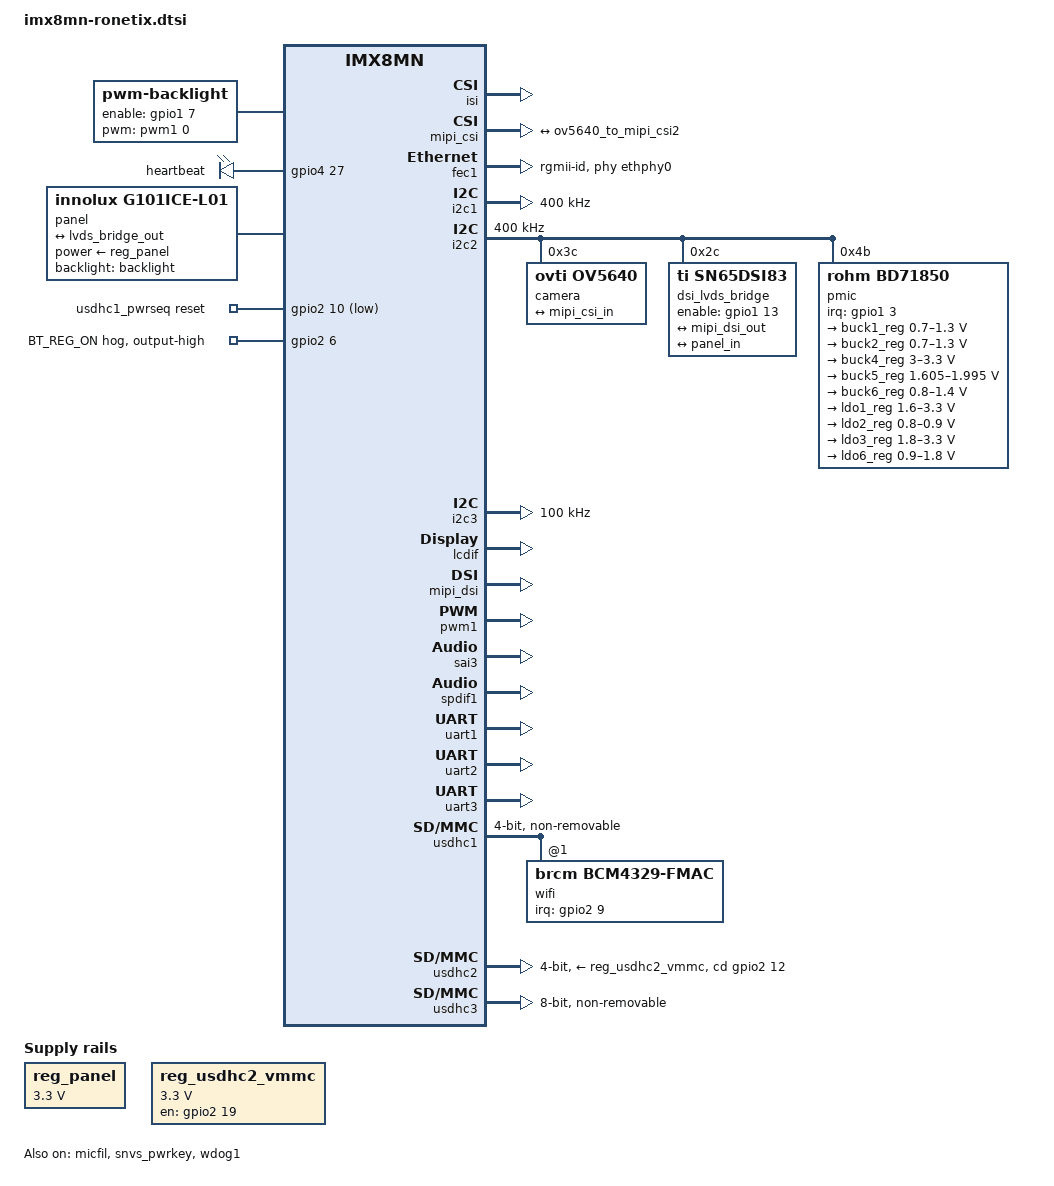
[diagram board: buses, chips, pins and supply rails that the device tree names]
// SPDX-License-Identifier: (GPL-2.0+ OR MIT)
/*
 * Copyright 2021-2026 Ronetix GmbH
 *
 * Common definitions of the Ronetix i.MX8MN SoMs:
 * i.MX8MN-CM and i.MX8MN-COMPACT-CM
 */

#include <dt-bindings/leds/common.h>

/ {
	chosen {
		stdout-path = &uart2;
	};

	backlight: backlight {
		compatible = "pwm-backlight";
		pinctrl-names = "default";
		pinctrl-0 = <&pinctrl_backlight>;
		enable-gpios = <&gpio1 7 GPIO_ACTIVE_HIGH>;
		pwms = <&pwm1 0 2500000 0>;	/* 400 Hz */
		brightness-levels = <0 100>;
		num-interpolated-steps = <100>;
		default-brightness-level = <80>;
	};

	leds {
		compatible = "gpio-leds";
		pinctrl-names = "default";
		pinctrl-0 = <&pinctrl_gpio_leds>;

		led-0 {
			label = "heartbeat";
			function = LED_FUNCTION_HEARTBEAT;
			gpios = <&gpio4 27 GPIO_ACTIVE_HIGH>;
			default-state = "on";
			linux,default-trigger = "heartbeat";
		};
	};

	/* LVDS panel behind the SN65DSI83 DSI to LVDS bridge */
	panel: panel {
		compatible = "innolux,g101ice-l01";
		backlight = <&backlight>;
		power-supply = <&reg_panel>;

		port {
			panel_in: endpoint {
				remote-endpoint = <&lvds_bridge_out>;
			};
		};
	};

	reg_panel: regulator-panel {
		compatible = "regulator-fixed";
		regulator-name = "PANEL_VDD";
		regulator-min-microvolt = <3300000>;
		regulator-max-microvolt = <3300000>;
	};

	reg_usdhc2_vmmc: regulator-usdhc2 {
		compatible = "regulator-fixed";
		pinctrl-names = "default";
		pinctrl-0 = <&pinctrl_reg_usdhc2_vmmc>;
		regulator-name = "VSD_3V3";
		regulator-min-microvolt = <3300000>;
		regulator-max-microvolt = <3300000>;
		gpio = <&gpio2 19 GPIO_ACTIVE_HIGH>;
		off-on-delay-us = <20000>;
		enable-active-high;
	};

	/* WL_REG_ON */
	usdhc1_pwrseq: usdhc1-pwrseq {
		compatible = "mmc-pwrseq-simple";
		pinctrl-names = "default";
		pinctrl-0 = <&pinctrl_usdhc1_gpio>;
		reset-gpios = <&gpio2 10 GPIO_ACTIVE_LOW>;
	};
};

&A53_0 {
	cpu-supply = <&buck2_reg>;
};

&A53_1 {
	cpu-supply = <&buck2_reg>;
};

&A53_2 {
	cpu-supply = <&buck2_reg>;
};

&A53_3 {
	cpu-supply = <&buck2_reg>;
};

&isi {
	status = "okay";
};

&mipi_csi {
	status = "okay";

	ports {
		port@0 {
			mipi_csi_in: endpoint {
				remote-endpoint = <&ov5640_to_mipi_csi2>;
				data-lanes = <1 2>;
			};
		};
	};
};

&fec1 {
	pinctrl-names = "default";
	pinctrl-0 = <&pinctrl_fec1>;
	phy-mode = "rgmii-id";
	phy-handle = <&ethphy0>;
	fsl,magic-packet;
	status = "okay";

	/* The PHY is defined in the board file */
	fec1_mdio: mdio {
		#address-cells = <1>;
		#size-cells = <0>;
	};
};

/* QSPI flash only on the i.MX8MN-CM, enabled in imx8mn-cm.dts */
&flexspi {
	pinctrl-names = "default";
	pinctrl-0 = <&pinctrl_flexspi0>;
	status = "disabled";
};

&i2c1 {
	clock-frequency = <400000>;
	pinctrl-names = "default";
	pinctrl-0 = <&pinctrl_i2c1>;
	status = "okay";
};

&i2c2 {
	clock-frequency = <400000>;
	pinctrl-names = "default";
	pinctrl-0 = <&pinctrl_i2c2>;
	status = "okay";

	camera@3c {
		compatible = "ovti,ov5640";
		reg = <0x3c>;
		pinctrl-names = "default";
		pinctrl-0 = <&pinctrl_csi_rst>;
		clocks = <&clk IMX8MN_CLK_CLKO1>;
		clock-names = "xclk";
		assigned-clocks = <&clk IMX8MN_CLK_CLKO1>;
		assigned-clock-parents = <&clk IMX8MN_CLK_24M>;
		assigned-clock-rates = <24000000>;

		port {
			ov5640_to_mipi_csi2: endpoint {
				remote-endpoint = <&mipi_csi_in>;
				clock-lanes = <0>;
				data-lanes = <1 2>;
			};
		};
	};

	dsi_lvds_bridge: bridge@2c {
		compatible = "ti,sn65dsi83";
		reg = <0x2c>;
		pinctrl-names = "default";
		pinctrl-0 = <&pinctrl_lvds>;
		/* chip enable, not connected */
		enable-gpios = <&gpio1 13 GPIO_ACTIVE_HIGH>;

		ports {
			#address-cells = <1>;
			#size-cells = <0>;

			port@0 {
				reg = <0>;

				lvds_bridge_in: endpoint {
					data-lanes = <1 2>;
					remote-endpoint = <&mipi_dsi_out>;
				};
			};

			port@2 {
				reg = <2>;

				lvds_bridge_out: endpoint {
					remote-endpoint = <&panel_in>;
				};
			};
		};
	};

	pmic@4b {
		compatible = "rohm,bd71850";
		reg = <0x4b>;
		pinctrl-names = "default";
		pinctrl-0 = <&pinctrl_pmic>;
		interrupt-parent = <&gpio1>;
		interrupts = <3 IRQ_TYPE_LEVEL_LOW>;
		rohm,reset-snvs-powered;

		#clock-cells = <0>;
		clocks = <&osc_32k>;
		clock-output-names = "clk-32k-out";

		regulators {
			buck1_reg: BUCK1 {
				regulator-name = "buck1";
				regulator-min-microvolt = <700000>;
				regulator-max-microvolt = <1300000>;
				regulator-boot-on;
				regulator-always-on;
				regulator-ramp-delay = <1250>;
			};

			buck2_reg: BUCK2 {
				regulator-name = "buck2";
				regulator-min-microvolt = <700000>;
				regulator-max-microvolt = <1300000>;
				regulator-boot-on;
				regulator-always-on;
				regulator-ramp-delay = <1250>;
				rohm,dvs-run-voltage = <1000000>;
				rohm,dvs-idle-voltage = <900000>;
			};

			buck4_reg: BUCK4 {
				/* BUCK6 in datasheet */
				regulator-name = "buck4";
				regulator-min-microvolt = <3000000>;
				regulator-max-microvolt = <3300000>;
				regulator-boot-on;
				regulator-always-on;
			};

			buck5_reg: BUCK5 {
				/* BUCK7 in datasheet */
				regulator-name = "buck5";
				regulator-min-microvolt = <1605000>;
				regulator-max-microvolt = <1995000>;
				regulator-boot-on;
				regulator-always-on;
			};

			buck6_reg: BUCK6 {
				/* BUCK8 in datasheet */
				regulator-name = "buck6";
				regulator-min-microvolt = <800000>;
				regulator-max-microvolt = <1400000>;
				regulator-boot-on;
				regulator-always-on;
			};

			ldo1_reg: LDO1 {
				regulator-name = "ldo1";
				regulator-min-microvolt = <1600000>;
				regulator-max-microvolt = <3300000>;
				regulator-boot-on;
				regulator-always-on;
			};

			ldo2_reg: LDO2 {
				regulator-name = "ldo2";
				regulator-min-microvolt = <800000>;
				regulator-max-microvolt = <900000>;
				regulator-boot-on;
				regulator-always-on;
			};

			ldo3_reg: LDO3 {
				regulator-name = "ldo3";
				regulator-min-microvolt = <1800000>;
				regulator-max-microvolt = <3300000>;
				regulator-boot-on;
				regulator-always-on;
			};

			ldo6_reg: LDO6 {
				regulator-name = "ldo6";
				regulator-min-microvolt = <900000>;
				regulator-max-microvolt = <1800000>;
				regulator-boot-on;
				regulator-always-on;
			};
		};
	};
};

&i2c3 {
	clock-frequency = <100000>;
	pinctrl-names = "default";
	pinctrl-0 = <&pinctrl_i2c3>;
	status = "okay";
};

&lcdif {
	status = "okay";
};

&micfil {
	pinctrl-names = "default";
	pinctrl-0 = <&pinctrl_pdm>;
	assigned-clocks = <&clk IMX8MN_CLK_PDM>;
	assigned-clock-parents = <&clk IMX8MN_AUDIO_PLL1_OUT>;
	assigned-clock-rates = <196608000>;
	status = "okay";
};

&mipi_dsi {
	samsung,burst-clock-frequency = <891000000>;
	samsung,esc-clock-frequency = <20000000>;
	status = "okay";
};

&mipi_dsi_out {
	data-lanes = <1 2>;
	remote-endpoint = <&lvds_bridge_in>;
};

&pwm1 {
	pinctrl-names = "default";
	pinctrl-0 = <&pinctrl_pwm1>;
	status = "okay";
};

&sai3 {
	pinctrl-names = "default";
	pinctrl-0 = <&pinctrl_sai3>;
	assigned-clocks = <&clk IMX8MN_CLK_SAI3>;
	assigned-clock-parents = <&clk IMX8MN_AUDIO_PLL1_OUT>;
	assigned-clock-rates = <24576000>;
	status = "okay";
};

&snvs_pwrkey {
	status = "okay";
};

&spdif1 {
	pinctrl-names = "default";
	pinctrl-0 = <&pinctrl_spdif1>;
	assigned-clocks = <&clk IMX8MN_CLK_SPDIF1>;
	assigned-clock-parents = <&clk IMX8MN_AUDIO_PLL1_OUT>;
	assigned-clock-rates = <24576000>;
	status = "okay";
};

&uart1 { /* Bluetooth */
	pinctrl-names = "default";
	pinctrl-0 = <&pinctrl_uart1>;
	assigned-clocks = <&clk IMX8MN_CLK_UART1>;
	assigned-clock-parents = <&clk IMX8MN_SYS_PLL1_80M>;
	uart-has-rtscts;
	status = "okay";
};

&uart2 { /* console */
	pinctrl-names = "default";
	pinctrl-0 = <&pinctrl_uart2>;
	status = "okay";
};

&uart3 {
	pinctrl-names = "default";
	pinctrl-0 = <&pinctrl_uart3>;
	assigned-clocks = <&clk IMX8MN_CLK_UART3>;
	assigned-clock-parents = <&clk IMX8MN_SYS_PLL1_80M>;
	uart-has-rtscts;
	status = "okay";
};

/* WiFi */
&usdhc1 {
	#address-cells = <1>;
	#size-cells = <0>;
	pinctrl-names = "default", "state_100mhz", "state_200mhz";
	pinctrl-0 = <&pinctrl_usdhc1>, <&pinctrl_wlan>;
	pinctrl-1 = <&pinctrl_usdhc1_100mhz>, <&pinctrl_wlan>;
	pinctrl-2 = <&pinctrl_usdhc1_200mhz>, <&pinctrl_wlan>;
	mmc-pwrseq = <&usdhc1_pwrseq>;
	bus-width = <4>;
	cap-power-off-card;
	keep-power-in-suspend;
	non-removable;
	status = "okay";

	wifi@1 {
		compatible = "brcm,bcm4329-fmac";
		reg = <1>;
		interrupt-parent = <&gpio2>;
		interrupts = <9 IRQ_TYPE_LEVEL_HIGH>;
		interrupt-names = "host-wake";
	};
};

/* micro SD card */
&usdhc2 {
	pinctrl-names = "default", "state_100mhz", "state_200mhz";
	pinctrl-0 = <&pinctrl_usdhc2>, <&pinctrl_usdhc2_gpio>;
	pinctrl-1 = <&pinctrl_usdhc2_100mhz>, <&pinctrl_usdhc2_gpio>;
	pinctrl-2 = <&pinctrl_usdhc2_200mhz>, <&pinctrl_usdhc2_gpio>;
	cd-gpios = <&gpio2 12 GPIO_ACTIVE_HIGH>;
	bus-width = <4>;
	vmmc-supply = <&reg_usdhc2_vmmc>;
	status = "okay";
};

/* eMMC */
&usdhc3 {
	pinctrl-names = "default", "state_100mhz", "state_200mhz";
	pinctrl-0 = <&pinctrl_usdhc3>;
	pinctrl-1 = <&pinctrl_usdhc3_100mhz>;
	pinctrl-2 = <&pinctrl_usdhc3_200mhz>;
	bus-width = <8>;
	non-removable;
	status = "okay";
};

&wdog1 {
	pinctrl-names = "default";
	pinctrl-0 = <&pinctrl_wdog>;
	fsl,ext-reset-output;
	status = "okay";
};

&gpio2 {
	bt-reg-on-hog {
		gpio-hog;
		gpios = <6 GPIO_ACTIVE_HIGH>;
		output-high;
		line-name = "BT_REG_ON";
	};
};

&iomuxc {
	pinctrl-names = "default";
	pinctrl-0 = <&pinctrl_hog>;

	pinctrl_hog: hoggrp {
		fsl,pins = <
			MX8MN_IOMUXC_SD1_DATA4_GPIO2_IO6		0x19	/* BT_REG_ON */
		>;
	};

	pinctrl_backlight: backlightgrp {
		fsl,pins = <
			MX8MN_IOMUXC_GPIO1_IO07_GPIO1_IO7		0x16	/* LCD_BL_EN */
		>;
	};

	pinctrl_csi_rst: csirstgrp {
		fsl,pins = <
			MX8MN_IOMUXC_GPIO1_IO06_GPIO1_IO6		0x19
		>;
	};

	pinctrl_fec1: fec1grp {
		fsl,pins = <
			MX8MN_IOMUXC_ENET_MDC_ENET1_MDC			0x3
			MX8MN_IOMUXC_ENET_MDIO_ENET1_MDIO		0x3
			MX8MN_IOMUXC_ENET_TD3_ENET1_RGMII_TD3		0x1f
			MX8MN_IOMUXC_ENET_TD2_ENET1_RGMII_TD2		0x1f
			MX8MN_IOMUXC_ENET_TD1_ENET1_RGMII_TD1		0x1f
			MX8MN_IOMUXC_ENET_TD0_ENET1_RGMII_TD0		0x1f
			MX8MN_IOMUXC_ENET_RD3_ENET1_RGMII_RD3		0x91
			MX8MN_IOMUXC_ENET_RD2_ENET1_RGMII_RD2		0x91
			MX8MN_IOMUXC_ENET_RD1_ENET1_RGMII_RD1		0x91
			MX8MN_IOMUXC_ENET_RD0_ENET1_RGMII_RD0		0x91
			MX8MN_IOMUXC_ENET_TXC_ENET1_RGMII_TXC		0x1f
			MX8MN_IOMUXC_ENET_RXC_ENET1_RGMII_RXC		0x91
			MX8MN_IOMUXC_ENET_RX_CTL_ENET1_RGMII_RX_CTL	0x91
			MX8MN_IOMUXC_ENET_TX_CTL_ENET1_RGMII_TX_CTL	0x1f
			MX8MN_IOMUXC_SAI3_RXC_GPIO4_IO29		0x19	/* ENET_nRST */
		>;
	};

	pinctrl_flexspi0: flexspi0grp {
		fsl,pins = <
			MX8MN_IOMUXC_NAND_ALE_QSPI_A_SCLK		0x1c2
			MX8MN_IOMUXC_NAND_CE0_B_QSPI_A_SS0_B		0x82
			MX8MN_IOMUXC_NAND_DATA00_QSPI_A_DATA0		0x82
			MX8MN_IOMUXC_NAND_DATA01_QSPI_A_DATA1		0x82
			MX8MN_IOMUXC_NAND_DATA02_QSPI_A_DATA2		0x82
			MX8MN_IOMUXC_NAND_DATA03_QSPI_A_DATA3		0x82
		>;
	};

	pinctrl_gpio_leds: gpioledgrp {
		fsl,pins = <
			MX8MN_IOMUXC_SAI2_MCLK_GPIO4_IO27		0x19
		>;
	};

	pinctrl_i2c1: i2c1grp {
		fsl,pins = <
			MX8MN_IOMUXC_I2C1_SCL_I2C1_SCL			0x400001c3
			MX8MN_IOMUXC_I2C1_SDA_I2C1_SDA			0x400001c3
		>;
	};

	pinctrl_i2c2: i2c2grp {
		fsl,pins = <
			MX8MN_IOMUXC_I2C2_SCL_I2C2_SCL			0x400001c3
			MX8MN_IOMUXC_I2C2_SDA_I2C2_SDA			0x400001c3
		>;
	};

	pinctrl_i2c3: i2c3grp {
		fsl,pins = <
			MX8MN_IOMUXC_I2C3_SCL_I2C3_SCL			0x400001c3
			MX8MN_IOMUXC_I2C3_SDA_I2C3_SDA			0x400001c3
		>;
	};

	pinctrl_lvds: lvdsgrp {
		fsl,pins = <
			/* SN65DSI83 - chip enable, not connected */
			MX8MN_IOMUXC_GPIO1_IO13_GPIO1_IO13		0x16
		>;
	};

	pinctrl_pdm: pdmgrp {
		fsl,pins = <
			MX8MN_IOMUXC_SAI5_MCLK_SAI5_MCLK		0xd6
			MX8MN_IOMUXC_SAI5_RXC_PDM_CLK			0xd6
			MX8MN_IOMUXC_SAI5_RXFS_SAI5_RX_SYNC		0xd6
			MX8MN_IOMUXC_SAI5_RXD0_PDM_BIT_STREAM0		0xd6
			MX8MN_IOMUXC_SAI5_RXD1_PDM_BIT_STREAM1		0xd6
			MX8MN_IOMUXC_SAI5_RXD2_PDM_BIT_STREAM2		0xd6
			MX8MN_IOMUXC_SAI5_RXD3_PDM_BIT_STREAM3		0xd6
		>;
	};

	pinctrl_pmic: pmicirqgrp {
		fsl,pins = <
			MX8MN_IOMUXC_GPIO1_IO03_GPIO1_IO3		0x141
		>;
	};

	pinctrl_pwm1: pwm1grp {
		fsl,pins = <
			MX8MN_IOMUXC_GPIO1_IO01_PWM1_OUT		0x06
		>;
	};

	pinctrl_reg_usdhc2_vmmc: regusdhc2vmmcgrp {
		fsl,pins = <
			MX8MN_IOMUXC_SD2_RESET_B_GPIO2_IO19		0x41
		>;
	};

	pinctrl_sai3: sai3grp {
		fsl,pins = <
			MX8MN_IOMUXC_SAI3_TXFS_SAI3_TX_SYNC		0xd6
			MX8MN_IOMUXC_SAI3_TXC_SAI3_TX_BCLK		0xd6
			MX8MN_IOMUXC_SAI3_MCLK_SAI3_MCLK		0xd6
			MX8MN_IOMUXC_SAI3_TXD_SAI3_TX_DATA0		0xd6
		>;
	};

	pinctrl_spdif1: spdif1grp {
		fsl,pins = <
			MX8MN_IOMUXC_SPDIF_TX_SPDIF1_OUT		0xd6
			MX8MN_IOMUXC_SPDIF_RX_SPDIF1_IN			0xd6
		>;
	};

	pinctrl_uart1: uart1grp {
		fsl,pins = <
			MX8MN_IOMUXC_UART1_RXD_UART1_DCE_RX		0x140
			MX8MN_IOMUXC_UART1_TXD_UART1_DCE_TX		0x140
			MX8MN_IOMUXC_UART3_RXD_UART1_DCE_CTS_B		0x140
			MX8MN_IOMUXC_UART3_TXD_UART1_DCE_RTS_B		0x140
		>;
	};

	pinctrl_uart2: uart2grp {
		fsl,pins = <
			MX8MN_IOMUXC_UART2_RXD_UART2_DCE_RX		0x140
			MX8MN_IOMUXC_UART2_TXD_UART2_DCE_TX		0x140
		>;
	};

	pinctrl_uart3: uart3grp {
		fsl,pins = <
			MX8MN_IOMUXC_ECSPI1_SCLK_UART3_DCE_RX		0x140
			MX8MN_IOMUXC_ECSPI1_MOSI_UART3_DCE_TX		0x140
			MX8MN_IOMUXC_ECSPI1_SS0_UART3_DCE_RTS_B		0x140
			MX8MN_IOMUXC_ECSPI1_MISO_UART3_DCE_CTS_B	0x140
		>;
	};

	pinctrl_usdhc1_gpio: usdhc1gpiogrp {
		fsl,pins = <
			MX8MN_IOMUXC_SD1_RESET_B_GPIO2_IO10		0x41	/* WL_REG_ON */
		>;
	};

	pinctrl_usdhc1: usdhc1grp {
		fsl,pins = <
			MX8MN_IOMUXC_SD1_CLK_USDHC1_CLK			0x190
			MX8MN_IOMUXC_SD1_CMD_USDHC1_CMD			0x1d0
			MX8MN_IOMUXC_SD1_DATA0_USDHC1_DATA0		0x1d0
			MX8MN_IOMUXC_SD1_DATA1_USDHC1_DATA1		0x1d0
			MX8MN_IOMUXC_SD1_DATA2_USDHC1_DATA2		0x1d0
			MX8MN_IOMUXC_SD1_DATA3_USDHC1_DATA3		0x1d0
		>;
	};

	pinctrl_usdhc1_100mhz: usdhc1-100mhzgrp {
		fsl,pins = <
			MX8MN_IOMUXC_SD1_CLK_USDHC1_CLK			0x194
			MX8MN_IOMUXC_SD1_CMD_USDHC1_CMD			0x1d4
			MX8MN_IOMUXC_SD1_DATA0_USDHC1_DATA0		0x1d4
			MX8MN_IOMUXC_SD1_DATA1_USDHC1_DATA1		0x1d4
			MX8MN_IOMUXC_SD1_DATA2_USDHC1_DATA2		0x1d4
			MX8MN_IOMUXC_SD1_DATA3_USDHC1_DATA3		0x1d4
		>;
	};

	pinctrl_usdhc1_200mhz: usdhc1-200mhzgrp {
		fsl,pins = <
			MX8MN_IOMUXC_SD1_CLK_USDHC1_CLK			0x196
			MX8MN_IOMUXC_SD1_CMD_USDHC1_CMD			0x1d6
			MX8MN_IOMUXC_SD1_DATA0_USDHC1_DATA0		0x1d6
			MX8MN_IOMUXC_SD1_DATA1_USDHC1_DATA1		0x1d6
			MX8MN_IOMUXC_SD1_DATA2_USDHC1_DATA2		0x1d6
			MX8MN_IOMUXC_SD1_DATA3_USDHC1_DATA3		0x1d6
		>;
	};

	pinctrl_usdhc2_gpio: usdhc2gpiogrp {
		fsl,pins = <
			MX8MN_IOMUXC_SD2_CD_B_GPIO2_IO12		0x1c4
		>;
	};

	pinctrl_usdhc2: usdhc2grp {
		fsl,pins = <
			MX8MN_IOMUXC_SD2_CLK_USDHC2_CLK			0x190
			MX8MN_IOMUXC_SD2_CMD_USDHC2_CMD			0x1d0
			MX8MN_IOMUXC_SD2_DATA0_USDHC2_DATA0		0x1d0
			MX8MN_IOMUXC_SD2_DATA1_USDHC2_DATA1		0x1d0
			MX8MN_IOMUXC_SD2_DATA2_USDHC2_DATA2		0x1d0
			MX8MN_IOMUXC_SD2_DATA3_USDHC2_DATA3		0x1d0
			MX8MN_IOMUXC_GPIO1_IO04_USDHC2_VSELECT		0x1d0
		>;
	};

	pinctrl_usdhc2_100mhz: usdhc2-100mhzgrp {
		fsl,pins = <
			MX8MN_IOMUXC_SD2_CLK_USDHC2_CLK			0x194
			MX8MN_IOMUXC_SD2_CMD_USDHC2_CMD			0x1d4
			MX8MN_IOMUXC_SD2_DATA0_USDHC2_DATA0		0x1d4
			MX8MN_IOMUXC_SD2_DATA1_USDHC2_DATA1		0x1d4
			MX8MN_IOMUXC_SD2_DATA2_USDHC2_DATA2		0x1d4
			MX8MN_IOMUXC_SD2_DATA3_USDHC2_DATA3		0x1d4
			MX8MN_IOMUXC_GPIO1_IO04_USDHC2_VSELECT		0x1d0
		>;
	};

	pinctrl_usdhc2_200mhz: usdhc2-200mhzgrp {
		fsl,pins = <
			MX8MN_IOMUXC_SD2_CLK_USDHC2_CLK			0x196
			MX8MN_IOMUXC_SD2_CMD_USDHC2_CMD			0x1d6
			MX8MN_IOMUXC_SD2_DATA0_USDHC2_DATA0		0x1d6
			MX8MN_IOMUXC_SD2_DATA1_USDHC2_DATA1		0x1d6
			MX8MN_IOMUXC_SD2_DATA2_USDHC2_DATA2		0x1d6
			MX8MN_IOMUXC_SD2_DATA3_USDHC2_DATA3		0x1d6
			MX8MN_IOMUXC_GPIO1_IO04_USDHC2_VSELECT		0x1d0
		>;
	};

	pinctrl_usdhc3: usdhc3grp {
		fsl,pins = <
			MX8MN_IOMUXC_NAND_WE_B_USDHC3_CLK		0x190
			MX8MN_IOMUXC_NAND_WP_B_USDHC3_CMD		0x1d0
			MX8MN_IOMUXC_NAND_DATA04_USDHC3_DATA0		0x1d0
			MX8MN_IOMUXC_NAND_DATA05_USDHC3_DATA1		0x1d0
			MX8MN_IOMUXC_NAND_DATA06_USDHC3_DATA2		0x1d0
			MX8MN_IOMUXC_NAND_DATA07_USDHC3_DATA3		0x1d0
			MX8MN_IOMUXC_NAND_RE_B_USDHC3_DATA4		0x1d0
			MX8MN_IOMUXC_NAND_CE2_B_USDHC3_DATA5		0x1d0
			MX8MN_IOMUXC_NAND_CE3_B_USDHC3_DATA6		0x1d0
			MX8MN_IOMUXC_NAND_CLE_USDHC3_DATA7		0x1d0
			MX8MN_IOMUXC_NAND_CE1_B_USDHC3_STROBE		0x190
		>;
	};

	pinctrl_usdhc3_100mhz: usdhc3-100mhzgrp {
		fsl,pins = <
			MX8MN_IOMUXC_NAND_WE_B_USDHC3_CLK		0x194
			MX8MN_IOMUXC_NAND_WP_B_USDHC3_CMD		0x1d4
			MX8MN_IOMUXC_NAND_DATA04_USDHC3_DATA0		0x1d4
			MX8MN_IOMUXC_NAND_DATA05_USDHC3_DATA1		0x1d4
			MX8MN_IOMUXC_NAND_DATA06_USDHC3_DATA2		0x1d4
			MX8MN_IOMUXC_NAND_DATA07_USDHC3_DATA3		0x1d4
			MX8MN_IOMUXC_NAND_RE_B_USDHC3_DATA4		0x1d4
			MX8MN_IOMUXC_NAND_CE2_B_USDHC3_DATA5		0x1d4
			MX8MN_IOMUXC_NAND_CE3_B_USDHC3_DATA6		0x1d4
			MX8MN_IOMUXC_NAND_CLE_USDHC3_DATA7		0x1d4
			MX8MN_IOMUXC_NAND_CE1_B_USDHC3_STROBE		0x194
		>;
	};

	pinctrl_usdhc3_200mhz: usdhc3-200mhzgrp {
		fsl,pins = <
			MX8MN_IOMUXC_NAND_WE_B_USDHC3_CLK		0x196
			MX8MN_IOMUXC_NAND_WP_B_USDHC3_CMD		0x1d6
			MX8MN_IOMUXC_NAND_DATA04_USDHC3_DATA0		0x1d6
			MX8MN_IOMUXC_NAND_DATA05_USDHC3_DATA1		0x1d6
			MX8MN_IOMUXC_NAND_DATA06_USDHC3_DATA2		0x1d6
			MX8MN_IOMUXC_NAND_DATA07_USDHC3_DATA3		0x1d6
			MX8MN_IOMUXC_NAND_RE_B_USDHC3_DATA4		0x1d6
			MX8MN_IOMUXC_NAND_CE2_B_USDHC3_DATA5		0x1d6
			MX8MN_IOMUXC_NAND_CE3_B_USDHC3_DATA6		0x1d6
			MX8MN_IOMUXC_NAND_CLE_USDHC3_DATA7		0x1d6
			MX8MN_IOMUXC_NAND_CE1_B_USDHC3_STROBE		0x196
		>;
	};

	pinctrl_wdog: wdoggrp {
		fsl,pins = <
			MX8MN_IOMUXC_GPIO1_IO02_WDOG1_WDOG_B		0xc6
		>;
	};

	pinctrl_wlan: wlangrp {
		fsl,pins = <
			MX8MN_IOMUXC_GPIO1_IO00_ANAMIX_REF_CLK_32K	0x141	/* REF_CLK_32K */
			MX8MN_IOMUXC_SD1_DATA7_GPIO2_IO9		0x111	/* WL_WAKE_HOST */
		>;
	};
};
